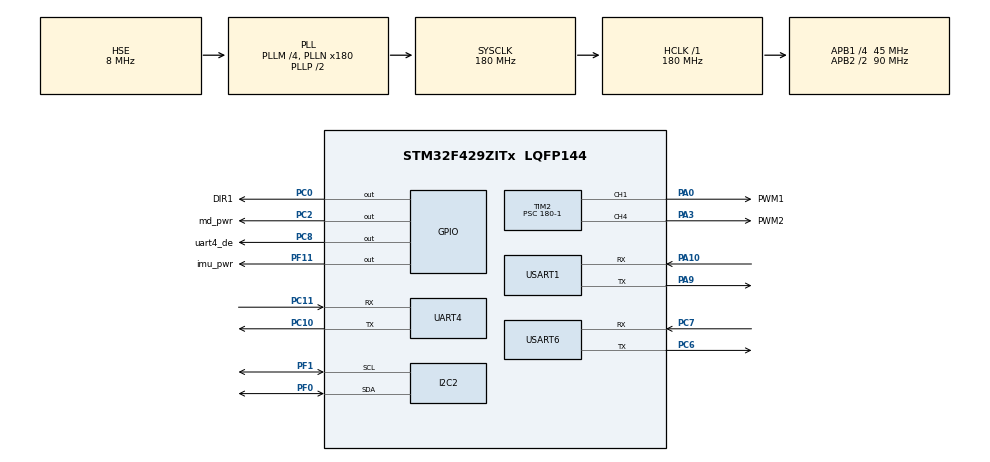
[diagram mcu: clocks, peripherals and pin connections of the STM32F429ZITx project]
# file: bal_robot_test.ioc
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Dma.Request0=USART6_RX
Dma.Request1=USART6_TX
Dma.USART6_RX.0.Direction=DMA_PERIPH_TO_MEMORY
Dma.USART6_RX.0.FIFOMode=DMA_FIFOMODE_DISABLE
Dma.USART6_RX.0.Instance=DMA2_Stream1
Dma.USART6_RX.0.MemDataAlignment=DMA_MDATAALIGN_BYTE
Dma.USART6_RX.0.MemInc=DMA_MINC_ENABLE
Dma.USART6_RX.0.Mode=DMA_CIRCULAR
Dma.USART6_RX.0.PeriphDataAlignment=DMA_PDATAALIGN_BYTE
Dma.USART6_RX.0.PeriphInc=DMA_PINC_DISABLE
Dma.USART6_RX.0.Priority=DMA_PRIORITY_LOW
Dma.USART6_TX.1.Direction=DMA_MEMORY_TO_PERIPH
Dma.USART6_TX.1.FIFOMode=DMA_FIFOMODE_DISABLE
Dma.USART6_TX.1.Instance=DMA2_Stream6
Dma.USART6_TX.1.MemDataAlignment=DMA_MDATAALIGN_BYTE
Dma.USART6_TX.1.MemInc=DMA_MINC_ENABLE
Dma.USART6_TX.1.Mode=DMA_NORMAL
Dma.USART6_TX.1.PeriphDataAlignment=DMA_PDATAALIGN_BYTE
Dma.USART6_TX.1.PeriphInc=DMA_PINC_DISABLE
Dma.USART6_TX.1.Priority=DMA_PRIORITY_LOW
FREERTOS.BinarySemaphores01=CLI,Dynamic,NULL
FREERTOS.Queues01=IMUAngle,1,double,0,Dynamic,NULL,NULL
FREERTOS.Tasks01=MicroRos,32,3000,StartMicroRos,Default,NULL,Dynamic,NULL,NULL;MotorTask,16,512,StartMotorTask,Default,NULL,Dynamic,NULL,NULL;BalancingTask,33,512,StartBalancingTask,Default,NULL,Dynamic,NULL,NULL;CLITask,16,512,StartCLITask,Default,NULL,Dynamic,NULL,NULL
FREERTOS.configTOTAL_HEAP_SIZE=30000
FREERTOS.configUSE_NEWLIB_REENTRANT=1
FREERTOS.configUSE_STATS_FORMATTING_FUNCTIONS=1
I2C2.I2C_Mode=I2C_Fast
Mcu.Family=STM32F4
Mcu.Name=STM32F429ZITx
Mcu.Package=LQFP144
NVIC.DMA2_Stream1_IRQn=true\:10\:0\:true\:false\:true\:true\:false\:true\:true
NVIC.DMA2_Stream6_IRQn=true\:10\:0\:true\:false\:true\:true\:false\:true\:true
NVIC.PriorityGroup=NVIC_PRIORITYGROUP_4
NVIC.TIM6_DAC_IRQn=true\:15\:0\:false\:false\:true\:false\:false\:true\:true
NVIC.TimeBase=TIM6_DAC_IRQn
NVIC.TimeBaseIP=TIM6
NVIC.UART4_IRQn=true\:5\:0\:false\:false\:true\:true\:true\:true\:true
NVIC.USART1_IRQn=true\:11\:0\:true\:false\:true\:true\:true\:true\:true
NVIC.USART6_IRQn=true\:10\:0\:true\:false\:true\:true\:true\:true\:true
PA0/WKUP.GPIO_Label=PWM1
PA0/WKUP.Signal=S_TIM2_CH1_ETR
PA10.Mode=Asynchronous
PA10.Signal=USART1_RX
PA13.Mode=Serial_Wire
PA13.Signal=SYS_JTMS-SWDIO
PA14.Mode=Serial_Wire
PA14.Signal=SYS_JTCK-SWCLK
PA3.GPIO_Label=PWM2
PA3.Signal=S_TIM2_CH4
PA9.Mode=Asynchronous
PA9.Signal=USART1_TX
PC0.GPIO_Label=DIR1
PC0.Signal=GPIO_Output
PC10.GPIO_PuPd=GPIO_PULLUP
PC10.Mode=Asynchronous
PC10.Signal=UART4_TX
PC11.GPIO_PuPd=GPIO_PULLUP
PC11.Mode=Asynchronous
PC11.Signal=UART4_RX
PC2.GPIO_Label=md_pwr
PC2.Signal=GPIO_Output
PC6.Mode=Asynchronous
PC6.Signal=USART6_TX
PC7.Mode=Asynchronous
PC7.Signal=USART6_RX
PC8.GPIO_Label=uart4_de
PC8.Signal=GPIO_Output
PF0.Mode=I2C
PF0.Signal=I2C2_SDA
PF1.Mode=I2C
PF1.Signal=I2C2_SCL
PF11.GPIO_Label=imu_pwr
PF11.Signal=GPIO_Output
PH0/OSC_IN.Mode=HSE-External-Oscillator
PH0/OSC_IN.Signal=RCC_OSC_IN
PH1/OSC_OUT.Mode=HSE-External-Oscillator
PH1/OSC_OUT.Signal=RCC_OSC_OUT
ProjectManager.HeapSize=0x400
ProjectManager.StackSize=0x600
ProjectManager.TargetToolchain=STM32CubeIDE
RCC.48MHZClocksFreq_Value=90000000
RCC.AHBFreq_Value=180000000
RCC.APB1CLKDivider=RCC_HCLK_DIV4
RCC.APB1Freq_Value=45000000
RCC.APB1TimFreq_Value=90000000
RCC.APB2CLKDivider=RCC_HCLK_DIV2
RCC.APB2Freq_Value=90000000
RCC.APB2TimFreq_Value=180000000
RCC.CortexFreq_Value=180000000
RCC.HCLKFreq_Value=180000000
RCC.HSE_VALUE=8000000
RCC.HSI_VALUE=16000000
RCC.LSE_VALUE=32768
RCC.PLLM=4
RCC.PLLN=180
RCC.PLLSourceVirtual=RCC_PLLSOURCE_HSE
RCC.SYSCLKFreq_VALUE=180000000
RCC.SYSCLKSource=RCC_SYSCLKSOURCE_PLLCLK
RCC.VCOOutputFreq_Value=360000000
SH.S_TIM2_CH1_ETR.0=TIM2_CH1,PWM Generation1 CH1
SH.S_TIM2_CH4.0=TIM2_CH4,PWM Generation4 CH4
TIM2.Channel-PWM\ Generation1\ CH1=TIM_CHANNEL_1
TIM2.Channel-PWM\ Generation4\ CH4=TIM_CHANNEL_4
TIM2.Period=1000-1
TIM2.Prescaler=180-1
UART4.VirtualMode=Asynchronous
USART1.VirtualMode=VM_ASYNC
USART6.VirtualMode=VM_ASYNC
VP_FREERTOS_VS_CMSIS_V2.Mode=CMSIS_V2
VP_SYS_VS_tim6.Mode=TIM6
VP_TIM2_VS_ClockSourceINT.Mode=Internal
board=custom

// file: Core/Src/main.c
/* USER CODE BEGIN Header */
/**
  ******************************************************************************
  * @file           : main.c
  * @brief          : Main program body
  ******************************************************************************
  * @attention
  *
  * Copyright (c) 2024 STMicroelectronics.
  * All rights reserved.
  *
  * This software is licensed under terms that can be found in the LICENSE file
  * in the root directory of this software component.
  * If no LICENSE file comes with this software, it is provided AS-IS.
  *
  ******************************************************************************
  */
/* USER CODE END Header */
#include "main.h"
#include "cmsis_os.h"
#include "dma.h"
#include "i2c.h"
#include "tim.h"
#include "usart.h"
#include "gpio.h"

/* USER CODE BEGIN Includes */
#include "MicroRos.h"
#include "CLI.h"
#include "ModbusRTU_app.h"
#include <ModbusRTU_Master.h>
/* USER CODE END Includes */

/* USER CODE BEGIN PV */
extern osSemaphoreId_t CLIHandle;
/* USER CODE END PV */

void SystemClock_Config(void);
void MX_FREERTOS_Init(void);

/* USER CODE BEGIN 0 */
void HAL_UART_RxCpltCallback(UART_HandleTypeDef *huart)
{
	if(huart->Instance == USART1)
	{
//		osSemaphoreRelease(CLIHandle);
		uart_hal_rx_CLI.cli_buffer[uart_hal_rx_CLI.cli_input_p++] = uart_hal_rx_CLI.cli_temp;
		if(uart_hal_rx_CLI.cli_input_p >= UART_RX_CLI_BUFFER_SIZE)
		{
			uart_hal_rx_CLI.cli_input_p = 0;
		}
		HAL_UART_Receive_IT(&CLI_UART, &uart_hal_rx_CLI.cli_temp, 1);
	}
}
/* USER CODE END 0 */

int main(void)
{

  /* MCU Configuration--------------------------------------------------------*/

  /* Reset of all peripherals, Initializes the Flash interface and the Systick. */
  HAL_Init();

  /* Configure the system clock */
  SystemClock_Config();

  /* Initialize all configured peripherals */
  MX_GPIO_Init();
  MX_DMA_Init();
  MX_USART6_UART_Init();
  MX_UART4_Init();
  MX_I2C2_Init();
  MX_TIM2_Init();
  MX_USART1_UART_Init();
  /* USER CODE BEGIN 2 */

  HAL_GPIO_WritePin(GPIOF, GPIO_PIN_11, GPIO_PIN_SET);	//mpu6050 power up
  HAL_GPIO_WritePin(GPIOC, GPIO_PIN_2, GPIO_PIN_SET);	//motordriver power up
  HAL_GPIO_WritePin(GPIOC, GPIO_PIN_8, GPIO_PIN_RESET);	//rs485 DE

//	HAL_TIM_PWM_Start(&htim2, TIM_CHANNEL_1);
//	HAL_TIM_PWM_Start(&htim2, TIM_CHANNEL_4);
//
//	IMU0_Setup();

//  uart_hal_rx_CLI_buffer_init();
  /* USER CODE END 2 */

  /* Init scheduler */
  osKernelInitialize();

  /* Call init function for freertos objects (in cmsis_os2.c) */
  MX_FREERTOS_Init();

  /* Start scheduler */
  osKernelStart();

  /* We should never get here as control is now taken by the scheduler */

  /* Infinite loop */
  while (1)
  {

  }
}

void SystemClock_Config(void)
{
  RCC_OscInitTypeDef RCC_OscInitStruct = {0};
  RCC_ClkInitTypeDef RCC_ClkInitStruct = {0};

  /** Configure the main internal regulator output voltage
  */
  __HAL_RCC_PWR_CLK_ENABLE();
  __HAL_PWR_VOLTAGESCALING_CONFIG(PWR_REGULATOR_VOLTAGE_SCALE1);

  /** Initializes the RCC Oscillators according to the specified parameters
  * in the RCC_OscInitTypeDef structure.
  */
  RCC_OscInitStruct.OscillatorType = RCC_OSCILLATORTYPE_HSE;
  RCC_OscInitStruct.HSEState = RCC_HSE_ON;
  RCC_OscInitStruct.PLL.PLLState = RCC_PLL_ON;
  RCC_OscInitStruct.PLL.PLLSource = RCC_PLLSOURCE_HSE;
  RCC_OscInitStruct.PLL.PLLM = 4;
  RCC_OscInitStruct.PLL.PLLN = 180;
  RCC_OscInitStruct.PLL.PLLP = RCC_PLLP_DIV2;
  RCC_OscInitStruct.PLL.PLLQ = 4;
  if (HAL_RCC_OscConfig(&RCC_OscInitStruct) != HAL_OK)
  {
    Error_Handler();
  }

  /** Activate the Over-Drive mode
  */
  if (HAL_PWREx_EnableOverDrive() != HAL_OK)
  {
    Error_Handler();
  }

  /** Initializes the CPU, AHB and APB buses clocks
  */
  RCC_ClkInitStruct.ClockType = RCC_CLOCKTYPE_HCLK|RCC_CLOCKTYPE_SYSCLK
                              |RCC_CLOCKTYPE_PCLK1|RCC_CLOCKTYPE_PCLK2;
  RCC_ClkInitStruct.SYSCLKSource = RCC_SYSCLKSOURCE_PLLCLK;
  RCC_ClkInitStruct.AHBCLKDivider = RCC_SYSCLK_DIV1;
  RCC_ClkInitStruct.APB1CLKDivider = RCC_HCLK_DIV4;
  RCC_ClkInitStruct.APB2CLKDivider = RCC_HCLK_DIV2;

  if (HAL_RCC_ClockConfig(&RCC_ClkInitStruct, FLASH_LATENCY_5) != HAL_OK)
  {
    Error_Handler();
  }
}

void HAL_TIM_PeriodElapsedCallback(TIM_HandleTypeDef *htim)
{
  if (htim->Instance == TIM6) {
    HAL_IncTick();
  }
}

void Error_Handler(void)
{
  __disable_irq();
  while (1)
  {
  }
}

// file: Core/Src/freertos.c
/* USER CODE BEGIN Header */
/**
  ******************************************************************************
  * File Name          : freertos.c
  * Description        : Code for freertos applications
  ******************************************************************************
  * @attention
  *
  * Copyright (c) 2024 STMicroelectronics.
  * All rights reserved.
  *
  * This software is licensed under terms that can be found in the LICENSE file
  * in the root directory of this software component.
  * If no LICENSE file comes with this software, it is provided AS-IS.
  *
  ******************************************************************************
  */
/* USER CODE END Header */

#include "FreeRTOS.h"
#include "task.h"
#include "main.h"
#include "cmsis_os.h"

/* USER CODE BEGIN Includes */
#include "tim.h"
#include "MicroRos.h"
#include "ModbusRTU_Master.h"
#include "ModbusRTU_app.h"
#include "CLI.h"
/* USER CODE END Includes */

/* USER CODE BEGIN PM */
osThreadId defaultTaskHandle;
/* USER CODE END PM */

/* USER CODE BEGIN Variables */
int16_t FB_ros_data, LR_ros_data;
int16_t LR_Last_data, FB_Last_data;
extern uint8_t mode;
extern bool motor_disable;
/* USER CODE END Variables */
/* Definitions for MicroRos */
osThreadId_t MicroRosHandle;
const osThreadAttr_t MicroRos_attributes = {
  .name = "MicroRos",
  .stack_size = 3000 * 4,
  .priority = (osPriority_t) osPriorityAboveNormal,
};
/* Definitions for MotorTask */
osThreadId_t MotorTaskHandle;
const osThreadAttr_t MotorTask_attributes = {
  .name = "MotorTask",
  .stack_size = 512 * 4,
  .priority = (osPriority_t) osPriorityBelowNormal,
};
/* Definitions for BalancingTask */
osThreadId_t BalancingTaskHandle;
const osThreadAttr_t BalancingTask_attributes = {
  .name = "BalancingTask",
  .stack_size = 512 * 4,
  .priority = (osPriority_t) osPriorityAboveNormal1,
};
/* Definitions for CLITask */
osThreadId_t CLITaskHandle;
const osThreadAttr_t CLITask_attributes = {
  .name = "CLITask",
  .stack_size = 512 * 4,
  .priority = (osPriority_t) osPriorityBelowNormal,
};
/* Definitions for IMUAngle */
osMessageQueueId_t IMUAngleHandle;
const osMessageQueueAttr_t IMUAngle_attributes = {
  .name = "IMUAngle"
};
/* Definitions for CLI */
osSemaphoreId_t CLIHandle;
const osSemaphoreAttr_t CLI_attributes = {
  .name = "CLI"
};

/* USER CODE BEGIN FunctionPrototypes */
extern void ModbusRTUTask(void const * argument);
/* USER CODE END FunctionPrototypes */

void StartMicroRos(void *argument);
void StartMotorTask(void *argument);
void StartBalancingTask(void *argument);
void StartCLITask(void *argument);

void MX_FREERTOS_Init(void); /* (MISRA C 2004 rule 8.1) */

void MX_FREERTOS_Init(void) {

  /* Create the semaphores(s) */
  /* creation of CLI */
  CLIHandle = osSemaphoreNew(1, 0, &CLI_attributes);

  /* Create the queue(s) */
  /* creation of IMUAngle */
  IMUAngleHandle = osMessageQueueNew (1, sizeof(double), &IMUAngle_attributes);

  /* Create the thread(s) */
  /* creation of MicroRos */
  MicroRosHandle = osThreadNew(StartMicroRos, NULL, &MicroRos_attributes);

  /* creation of MotorTask */
  MotorTaskHandle = osThreadNew(StartMotorTask, NULL, &MotorTask_attributes);

  /* creation of BalancingTask */
  BalancingTaskHandle = osThreadNew(StartBalancingTask, NULL, &BalancingTask_attributes);

  /* creation of CLITask */
  CLITaskHandle = osThreadNew(StartCLITask, NULL, &CLITask_attributes);

}

void StartMicroRos(void *argument)
{
  /* USER CODE BEGIN StartMicroRos */
	Micro_ros_Init();
	Micro_ros_PUB_Init();
	Micro_ros_SUB_Init();
	Micro_ros_service_Init();

  /* Infinite loop */
  for(;;)
  {
		Micro_ros_Proc();
		Micro_ros_spin(1);

    osDelay(1);
  }
  /* USER CODE END StartMicroRos */
}

/* USER CODE BEGIN Header_StartMotorTask */
/**
* @brief Function implementing the MotorTask thread.
* @param argument: Not used
* @retval None
*/
int32_t aaaa[2] = {0,};
/* USER CODE END Header_StartMotorTask */
void StartMotorTask(void *argument)
{
  /* USER CODE BEGIN StartMotorTask */

	Motor_driver_Init();
  /* Infinite loop */
  for(;;)
  {
		Modbus_ReadHoldingRegister(0x01, 0x20A7, 4);
		aaaa[0] = ((int32_t)(ModbusRegister[0] << 16) | ModbusRegister[1]);
		aaaa[1] = ((int32_t)(ModbusRegister[2] << 16) | ModbusRegister[3]);
	  if(mode == 2)
	  {
		  Set_cmd_vel_rpm();
		  mode = 0;
	  }
	  else if(mode == 1)
	  {
		  Run_joycon();
		  mode = 0;
	  }

	  Disable_control(motor_disable);

    osDelay(1);
  }
  /* USER CODE END StartMotorTask */
}

void StartBalancingTask(void *argument)
{
  /* USER CODE BEGIN StartBalancingTask */
	float degree[3];
	HAL_TIM_PWM_Start(&htim2, TIM_CHANNEL_1);
	HAL_TIM_PWM_Start(&htim2, TIM_CHANNEL_4);

	IMU0_Setup();
  /* Infinite loop */
  for(;;)
  {
//	  vTaskDelete(NULL);
//	  IMU0_Proc(degree);
    osDelay(1);
  }
  /* USER CODE END StartBalancingTask */
}

void StartCLITask(void *argument)
{
  /* USER CODE BEGIN StartCLITask */
//	uart_hal_rx_CLI_buffer_init();
  /* Infinite loop */
  for(;;)
  {
//	  if(osSemaphoreAcquire(CLIHandle, 0) == osOK)
//	  {
//		  uart_hal_rx_CLI_monitor();
//	  }
    osDelay(1);
  }
  /* USER CODE END StartCLITask */
}
